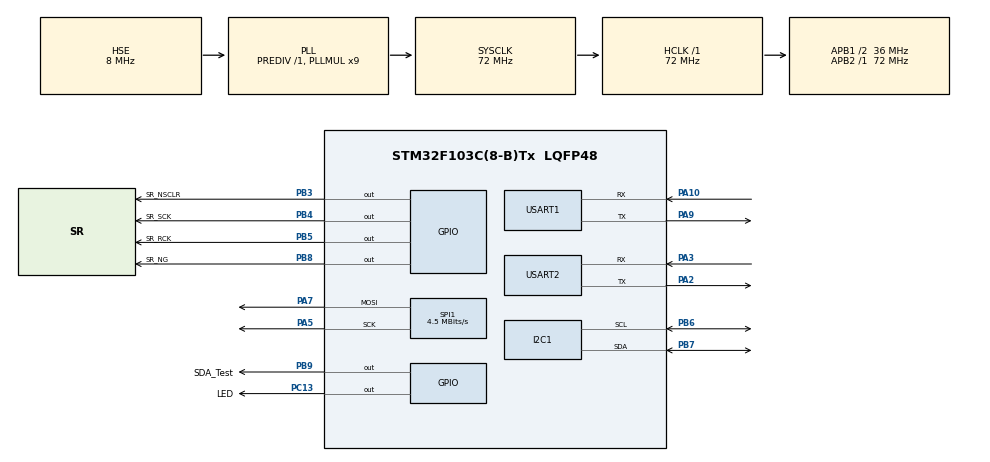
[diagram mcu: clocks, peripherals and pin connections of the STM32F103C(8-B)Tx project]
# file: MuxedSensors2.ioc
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Mcu.Family=STM32F1
Mcu.Name=STM32F103C(8-B)Tx
Mcu.Package=LQFP48
NVIC.PriorityGroup=NVIC_PRIORITYGROUP_4
PA10.Mode=Asynchronous
PA10.Signal=USART1_RX
PA13.Mode=Serial_Wire
PA13.Signal=SYS_JTMS-SWDIO
PA14.Mode=Serial_Wire
PA14.Signal=SYS_JTCK-SWCLK
PA2.Mode=Asynchronous
PA2.Signal=USART2_TX
PA3.Mode=Asynchronous
PA3.Signal=USART2_RX
PA5.Mode=TX_Only_Simplex_Unidirect_Master
PA5.Signal=SPI1_SCK
PA7.Mode=TX_Only_Simplex_Unidirect_Master
PA7.Signal=SPI1_MOSI
PA9.Mode=Asynchronous
PA9.Signal=USART1_TX
PB3.GPIO_Label=SR_NSCLR
PB3.Signal=GPIO_Output
PB4.GPIO_Label=SR_SCK
PB4.Signal=GPIO_Output
PB5.GPIO_Label=SR_RCK
PB5.Signal=GPIO_Output
PB6.Mode=I2C
PB6.Signal=I2C1_SCL
PB7.Mode=I2C
PB7.Signal=I2C1_SDA
PB8.GPIO_Label=SR_NG
PB8.GPIO_Speed=GPIO_SPEED_FREQ_LOW
PB8.Signal=GPIO_Output
PB9.GPIO_Label=SDA_Test
PB9.Signal=GPIO_Output
PC13-TAMPER-RTC.GPIO_Label=LED
PC13-TAMPER-RTC.Signal=GPIO_Output
PC14-OSC32_IN.Mode=LSE-External-Oscillator
PC14-OSC32_IN.Signal=RCC_OSC32_IN
PC15-OSC32_OUT.Mode=LSE-External-Oscillator
PC15-OSC32_OUT.Signal=RCC_OSC32_OUT
PD0-OSC_IN.Mode=HSE-External-Oscillator
PD0-OSC_IN.Signal=RCC_OSC_IN
PD1-OSC_OUT.Mode=HSE-External-Oscillator
PD1-OSC_OUT.Signal=RCC_OSC_OUT
ProjectManager.HeapSize=0x200
ProjectManager.StackSize=0x400
ProjectManager.TargetToolchain=TrueSTUDIO
RCC.AHBFreq_Value=72000000
RCC.APB1CLKDivider=RCC_HCLK_DIV2
RCC.APB1Freq_Value=36000000
RCC.APB1TimFreq_Value=72000000
RCC.APB2Freq_Value=72000000
RCC.APB2TimFreq_Value=72000000
RCC.HCLKFreq_Value=72000000
RCC.PLLMUL=RCC_PLL_MUL9
RCC.PLLSourceVirtual=RCC_PLLSOURCE_HSE
RCC.SYSCLKFreq_VALUE=72000000
RCC.SYSCLKSource=RCC_SYSCLKSOURCE_PLLCLK
RCC.USBFreq_Value=72000000
SPI1.BaudRatePrescaler=SPI_BAUDRATEPRESCALER_16
SPI1.CalculateBaudRate=4.5 MBits/s
SPI1.Direction=SPI_DIRECTION_2LINES
SPI1.Mode=SPI_MODE_MASTER
SPI1.VirtualType=VM_MASTER
USART1.Parity=PARITY_EVEN
USART1.VirtualMode=VM_ASYNC
USART2.VirtualMode=VM_ASYNC
board=custom

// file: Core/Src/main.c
/* USER CODE BEGIN Header */
/**
  ******************************************************************************
  * @file           : main.c
  * @brief          : Main program body
  ******************************************************************************
  * This notice applies to any and all portions of this file
  * that are not between comment pairs USER CODE BEGIN and
  * USER CODE END. Other portions of this file, whether
  * inserted by the user or by software development tools
  * are owned by their respective copyright owners.
  *
  * Copyright (c) 2019 STMicroelectronics International N.V.
  * All rights reserved.
  *
  * Redistribution and use in source and binary forms, with or without
  * modification, are permitted, provided that the following conditions are met:
  *
  * 1. Redistribution of source code must retain the above copyright notice,
  *    this list of conditions and the following disclaimer.
  * 2. Redistributions in binary form must reproduce the above copyright notice,
  *    this list of conditions and the following disclaimer in the documentation
  *    and/or other materials provided with the distribution.
  * 3. Neither the name of STMicroelectronics nor the names of other
  *    contributors to this software may be used to endorse or promote products
  *    derived from this software without specific written permission.
  * 4. This software, including modifications and/or derivative works of this
  *    software, must execute solely and exclusively on microcontroller or
  *    microprocessor devices manufactured by or for STMicroelectronics.
  * 5. Redistribution and use of this software other than as permitted under
  *    this license is void and will automatically terminate your rights under
  *    this license.
  *
  * THIS SOFTWARE IS PROVIDED BY STMICROELECTRONICS AND CONTRIBUTORS "AS IS"
  * AND ANY EXPRESS, IMPLIED OR STATUTORY WARRANTIES, INCLUDING, BUT NOT
  * LIMITED TO, THE IMPLIED WARRANTIES OF MERCHANTABILITY, FITNESS FOR A
  * PARTICULAR PURPOSE AND NON-INFRINGEMENT OF THIRD PARTY INTELLECTUAL PROPERTY
  * RIGHTS ARE DISCLAIMED TO THE FULLEST EXTENT PERMITTED BY LAW. IN NO EVENT
  * SHALL STMICROELECTRONICS OR CONTRIBUTORS BE LIABLE FOR ANY DIRECT, INDIRECT,
  * INCIDENTAL, SPECIAL, EXEMPLARY, OR CONSEQUENTIAL DAMAGES (INCLUDING, BUT NOT
  * LIMITED TO, PROCUREMENT OF SUBSTITUTE GOODS OR SERVICES; LOSS OF USE, DATA,
  * OR PROFITS; OR BUSINESS INTERRUPTION) HOWEVER CAUSED AND ON ANY THEORY OF
  * LIABILITY, WHETHER IN CONTRACT, STRICT LIABILITY, OR TORT (INCLUDING
  * NEGLIGENCE OR OTHERWISE) ARISING IN ANY WAY OUT OF THE USE OF THIS SOFTWARE,
  * EVEN IF ADVISED OF THE POSSIBILITY OF SUCH DAMAGE.
  *
  ******************************************************************************
  */
/* USER CODE END Header */

#include "main.h"
#include "i2c.h"
#include "spi.h"
#include "usart.h"
#include "gpio.h"

/* USER CODE BEGIN Includes */
#include "Magnet.h"
#include "MagConfig.h"
#include "magnetmath.h"
#include "linefollow.h"
/* USER CODE END Includes */

/* USER CODE BEGIN PV */

//int strsum[6][20]; // array of the 20 most recent strength measurements
//int k = 0; // counter
//volatile float avgstr[6]; // the average magnetic field strength of the last 20 measurements
int table_index[6][2];
double Br = 0.75;
double magnet_height = 0.026;
double magnet_radius = 0.006;
double height_from_ground = 0.05;

double table[21][21][3];

int sensorcount = 8;

volatile double error_last = 0;
volatile double error_integ = 0;

double Kp = 0;
double Ki = 0;
double Kd = 0;

/* USER CODE END PV */

void SystemClock_Config(void);

int main(void)
 {

  /* MCU Configuration--------------------------------------------------------*/

  /* Reset of all peripherals, Initializes the Flash interface and the Systick. */
  HAL_Init();

  /* Configure the system clock */
  SystemClock_Config();

  /* Initialize all configured peripherals */
  MX_GPIO_Init();
  MX_USART1_UART_Init();
  MX_I2C1_Init();
  MX_USART2_UART_Init();
  MX_SPI1_Init();
  /* USER CODE BEGIN 2 */
  config(sensorcount); //Sends configuration information to every sensor
  reset_background(field, bg, 10, sensorcount); //Takes into account the sensor readings at their starting position and orientation and considers them to be the real zero point

  //Creates a 3D table of expected magnetic sensor values at certain magnet positions relative to the sensor
  //The function requires specific predetermined information of what kind of magnet is expected.
  //Required information: radius of the magnet, height of the magnet (its assumed it is cylindrical), and magnetic strength of the magnet, provided in the form of Br - residual inductio (or magnetic flux)
  //The Br of a magnet depends mainly on its material.
  CreateTable(table, height_from_ground, Br, magnet_radius, magnet_height);

  HAL_Delay(1);

  /* USER CODE END 2 */
  /* Infinite loop */
  while (1)
  {
    /* USER CODE BEGIN 3 */
	  for(int i = 0; i < sensorcount; i++)
	  {
		  mag_read_value(field, i);

		  for(int j = 0; j < 3; j++)
		  {
		    if(field[i][j] > 65536 / 2) field[i][j] = field[i][j] - 65536; //by default, negative magnetic fields are represented as decreasing from maximum 16 bit number 65535
                                                                          //changes the representation of negative magnetic fields to negative values starting at zero
		    field[i][j] -= bg[i][j]; //accounts for the background magnetic fields
		  }

		  //Unnecessary information in current implementation, but may be relevant in later code
		  /*
		  str[i] = make_unit_vectors(field[i], vect[i]); //creates array of directional unit vectors and outputs strength of magnetic field

		  strsum[i][k] = str[i]; //adds strength of magnetic field to array for average calculation
		  k++;
		  if(k >= 20) k = 0;
		  avgstr[i] = average(strsum[i], 20); //calculates the average of the most recent 20 field strength measurements
		  */

		  CompareSensorValue(Br, magnet_radius, magnet_height, field[i], table_index[i], table);

		  HAL_Delay(1);
	  }
	  HAL_Delay(1);
  }
  /* USER CODE END 3 */
}

void SystemClock_Config(void)
{
  RCC_OscInitTypeDef RCC_OscInitStruct = {0};
  RCC_ClkInitTypeDef RCC_ClkInitStruct = {0};

  /**Initializes the CPU, AHB and APB busses clocks
  */
  RCC_OscInitStruct.OscillatorType = RCC_OSCILLATORTYPE_HSE;
  RCC_OscInitStruct.HSEState = RCC_HSE_ON;
  RCC_OscInitStruct.HSEPredivValue = RCC_HSE_PREDIV_DIV1;
  RCC_OscInitStruct.HSIState = RCC_HSI_ON;
  RCC_OscInitStruct.PLL.PLLState = RCC_PLL_ON;
  RCC_OscInitStruct.PLL.PLLSource = RCC_PLLSOURCE_HSE;
  RCC_OscInitStruct.PLL.PLLMUL = RCC_PLL_MUL9;
  if (HAL_RCC_OscConfig(&RCC_OscInitStruct) != HAL_OK)
  {
    Error_Handler();
  }
  /**Initializes the CPU, AHB and APB busses clocks
  */
  RCC_ClkInitStruct.ClockType = RCC_CLOCKTYPE_HCLK|RCC_CLOCKTYPE_SYSCLK
                              |RCC_CLOCKTYPE_PCLK1|RCC_CLOCKTYPE_PCLK2;
  RCC_ClkInitStruct.SYSCLKSource = RCC_SYSCLKSOURCE_PLLCLK;
  RCC_ClkInitStruct.AHBCLKDivider = RCC_SYSCLK_DIV1;
  RCC_ClkInitStruct.APB1CLKDivider = RCC_HCLK_DIV2;
  RCC_ClkInitStruct.APB2CLKDivider = RCC_HCLK_DIV1;

  if (HAL_RCC_ClockConfig(&RCC_ClkInitStruct, FLASH_LATENCY_2) != HAL_OK)
  {
    Error_Handler();
  }
}

void Error_Handler(void)
{
}

/************************ (C) COPYRIGHT STMicroelectronics *****END OF FILE****/
